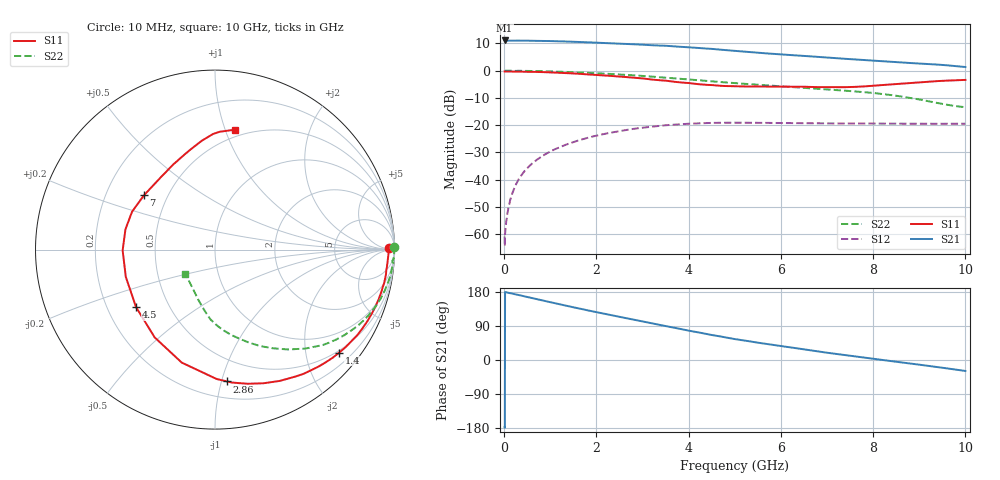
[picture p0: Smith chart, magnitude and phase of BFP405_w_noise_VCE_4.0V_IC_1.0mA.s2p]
! Infineon Technologies  Discrete & RF Semiconductors
! BFP405
! VCE =  4.0 V,  IC =  1.0 mA
! Common Emitter S-Parameters:  Jan 2016
# GHz  S  MA  R  50
!  f  S11  S21  S12  S22
! GHz  MAG  ANG  MAG  ANG  MAG  ANG  MAG  ANG
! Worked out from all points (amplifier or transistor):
!   233 points, 10 MHz to 10 GHz, reference 50 ohm
!   highest |S21| = 11.1 dB at 10 MHz (marker M1)
!   |S21| within 3 dB of that: start of sweep to 4.406 GHz
!   unconditionally stable (mu >= 1): 5.227 GHz to end of sweep
!   at 200 MHz: K = 0.05, MSG = 27.5 dB, |S12| = -44.0 dB
!   at 1.74 GHz: K = 0.20, MSG = 17.7 dB, |S12| = -25.0 dB
!   at 10 GHz: K = 2.01, MAG = 4.7 dB, |S12| = -19.5 dB
!   lowest NFmin = 0.74 dB at 900 MHz
!   S11 on the Smith chart (normalised r, x): 10 MHz: 56, +15; 1.4 GHz: 0.45, -2.70; 2.86 GHz: 0.32, -1.04; 4.5 GHz: 0.32, -0.29; 7 GHz: 0.37, +0.30; 10 GHz: 0.44, +1.08
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0.01  0.9674 0.5  3.587 -177.3  0.0009 -21.5  1 0.7
0.015  0.9669 0.1  3.566 -179.1  0.0006 31.2  0.9972 0.5
0.02  0.9665 -0.3  3.548 179.1  0.001 77.0  0.9945 0.3
0.045  0.9668 -1.2  3.54 178.9  0.0017 76.8  0.9972 -0.3
0.13  0.9642 -3.5  3.554 176.4  0.0042 84.8  0.9973 -1.9
0.24  0.9617 -6.5  3.565 173.4  0.0077 84.9  0.9899 -3.6
0.34  0.9614 -9.3  3.551 170.9  0.011 84.0  0.9937 -4.9
0.8  0.9434 -22.4  3.524 158.1  0.0261 77.8  0.9786 -11.7
1.4  0.8991 -39.7  3.419 141.8  0.0457 67.8  0.9446 -20.4
1.68  0.872 -47.9  3.353 134.5  0.0546 62.9  0.924 -24.2
2.22  0.8129 -64.4  3.208 120.8  0.0703 53.6  0.8784 -31.4
2.86  0.7379 -84.7  3.038 105.2  0.0867 42.6  0.8165 -39.7
3.4  0.6642 -102.7  2.883 92.0  0.0975 33.3  0.7564 -46.4
4  0.5935 -124.5  2.698 77.5  0.1063 23.4  0.6897 -53.8
4.5  0.5441 -144.0  2.513 66.0  0.1101 15.9  0.6375 -59.6
5.1  0.5153 -166.3  2.279 53.4  0.111 8.1  0.5828 -66.1
6  0.5116 167.3  1.99 36.8  0.1094 -0.6  0.5166 -74.4
6.8  0.4991 147.8  1.79 22.9  0.108 -6.0  0.4651 -81.9
7  0.4982 142.6  1.746 19.2  0.1077 -7.2  0.4529 -83.9
8.4  0.559 107.1  1.45 -3.1  0.1066 -14.3  0.3558 -98.1
9.4  0.6441 91.0  1.293 -18.9  0.106 -17.9  0.2545 -118.1
10  0.6768 80.7  1.167 -28.9  0.1063 -19.2  0.2132 -140.8
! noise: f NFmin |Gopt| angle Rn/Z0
0.9  0.74  0.71  15  0.57
1.8  1.18  0.58  32  0.51
2.4  1.45  0.48  44  0.46
3  1.56  0.48  58  0.43
4  1.81  0.35  86  0.3
5  2.13  0.33  122  0.21
